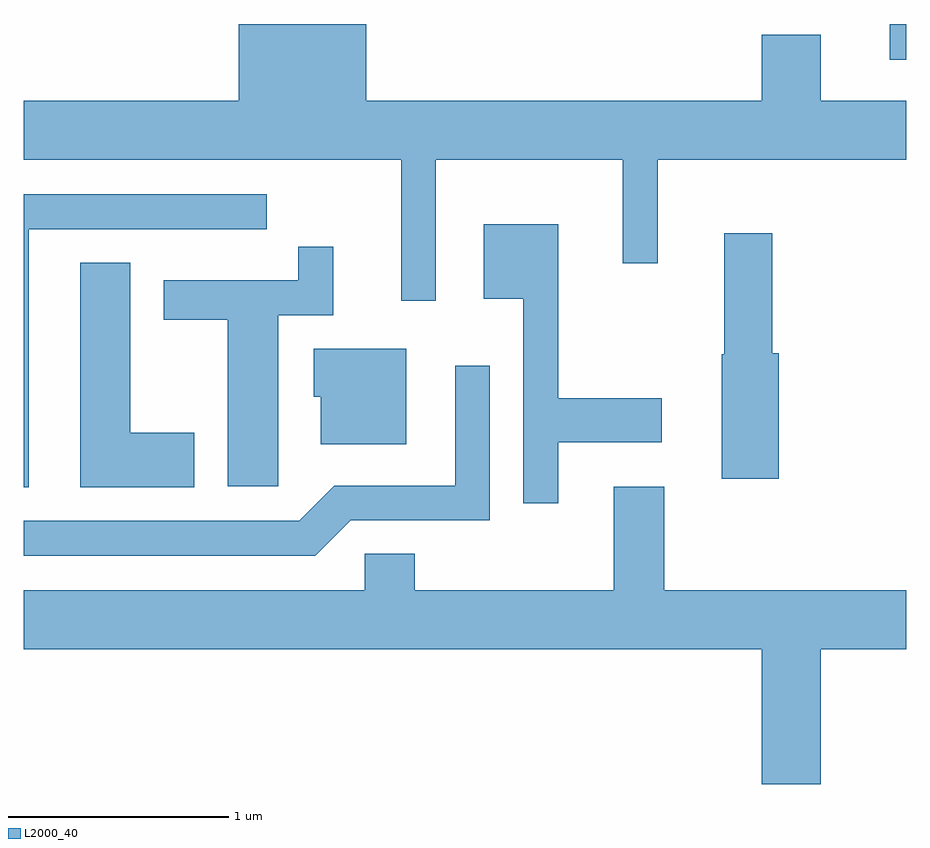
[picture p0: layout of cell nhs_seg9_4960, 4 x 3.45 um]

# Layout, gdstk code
import gdstk
lib = gdstk.Library(unit=1e-6, precision=1e-09)
def R(c, l, rs):  # rectangles x0, y0, x1, y1
    for r in rs: c.add(gdstk.rectangle(r[:2], r[2:], *l))
def P(c, l, *ps):  # polygons
    for p in ps: c.add(gdstk.Polygon(p, *l))
L2000_40 = (2000, 40)

nhs_seg9_4960 = lib.new_cell('nhs_seg9_4960')
R(nhs_seg9_4960, L2000_40, [(335.536,1992.271,335.611,1992.432)])
P(nhs_seg9_4960, L2000_40, [(333.479,1991.816),(334.326,1991.816),(334.326,1991.348),(334.484,1991.348),(334.484,1991.816),(335.611,1991.816),(335.611,1992.084),(335.224,1992.084),(335.224,1992.384),(334.956,1992.384),(334.956,1992.084),(333.164,1992.084),(333.164,1992.432),(332.586,1992.432),(332.586,1992.084),(331.611,1992.084),(331.611,1991.816),(333.321,1991.816),(333.321,1991.178),(333.479,1991.178)],
  [(331.634,1991.501),(332.713,1991.501),(332.713,1991.659),(331.611,1991.659),(331.611,1990.331),(331.634,1990.331)],
  [(334.034,1990.536),(334.504,1990.536),(334.504,1990.734),(334.034,1990.734),(334.034,1991.524),(333.696,1991.524),(333.696,1991.186),(333.876,1991.186),(333.876,1990.258),(334.034,1990.258)],
  [(335.034,1990.939),(335.004,1990.939),(335.004,1991.484),(334.786,1991.484),(334.786,1990.935),(334.776,1990.935),(334.776,1990.371),(335.034,1990.371)],
  [(332.764,1991.111),(333.014,1991.111),(333.014,1991.423),(332.856,1991.423),(332.856,1991.269),(332.246,1991.269),(332.246,1991.091),(332.536,1991.091),(332.536,1990.336),(332.764,1990.336)],
  [(332.384,1990.579),(332.094,1990.579),(332.094,1991.349),(331.866,1991.349),(331.866,1990.331),(332.384,1990.331)],
  [(333.344,1990.959),(332.926,1990.959),(332.926,1990.741),(332.956,1990.741),(332.956,1990.526),(333.344,1990.526)],
  [(333.092,1990.181),(333.724,1990.181),(333.724,1990.883),(333.566,1990.883),(333.566,1990.339),(333.019,1990.339),(332.859,1990.179),(331.611,1990.179),(331.611,1990.021),(332.932,1990.021)],
  [(335.224,1989.596),(335.611,1989.596),(335.611,1989.864),(334.514,1989.864),(334.514,1990.334),(334.286,1990.334),(334.286,1989.864),(333.384,1989.864),(333.384,1990.029),(333.156,1990.029),(333.156,1989.864),(331.611,1989.864),(331.611,1989.596),(334.956,1989.596),(334.956,1988.986),(335.224,1988.986)])

lib.write_gds('nhs_seg9_4960.gds')
